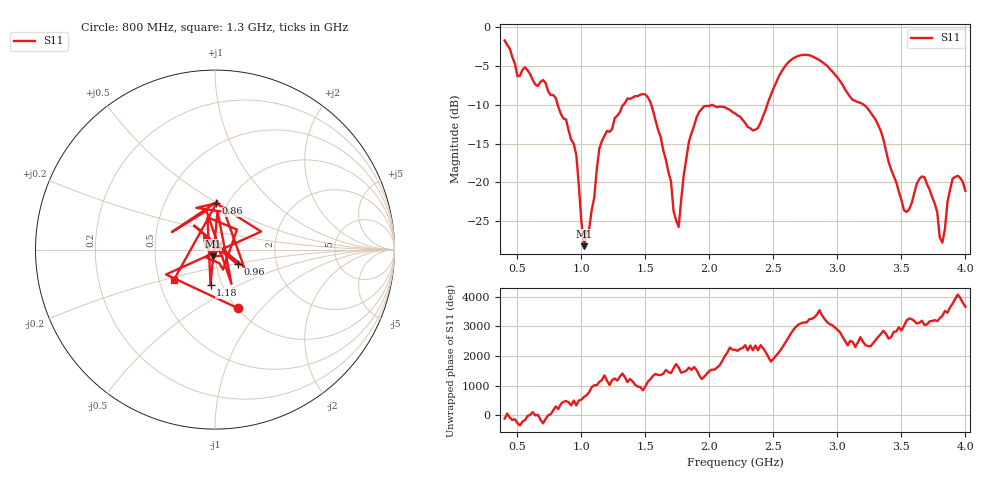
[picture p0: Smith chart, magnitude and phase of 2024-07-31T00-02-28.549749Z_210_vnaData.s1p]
!Created with skrf (http://scikit-rf.org).
# Hz S RI R 50.0
!freq ReS11 ImS11
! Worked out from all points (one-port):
!   181 points, 400 MHz to 4 GHz, reference 50 ohm
!   lowest |S11| = -28.2 dB at 1.02 GHz (marker M1), VSWR 1.08, Z = 48.7 - j3.6 ohm
!   |S11| at or under -10 dB: 815.2 MHz to 1.327 GHz (512.1 MHz wide, 47.8 % of centre); 1.546 GHz to 2.019 GHz (472.7 MHz wide, 26.5 % of centre); 3.207 GHz to end of sweep (the widest 3 of 4)
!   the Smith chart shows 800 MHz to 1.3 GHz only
!   S11 on the Smith chart (normalised r, x): 800 MHz: 1.01, -0.75; 860 MHz: 0.88, +0.49; 960 MHz: 1.27, -0.21; 1.18 GHz: 0.88, -0.36; 1.3 GHz: 0.60, -0.22
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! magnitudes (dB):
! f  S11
! 400 MHz  -1.7
! 500 MHz  -6.3
! 560 MHz  -5.1
! 800 MHz  -9.1
! 860 MHz  -11.8
! 960 MHz  -16.4
! 1.02 GHz  -28.2
! 1.1 GHz  -22.0
! 1.14 GHz  -15.6
! 1.18 GHz  -14.0
! 1.3 GHz  -11.0
! 1.54 GHz  -9.7
! 1.76 GHz  -25.7
! 1.84 GHz  -14.8
! 1.92 GHz  -10.9
! 2.2 GHz  -11.1
! 2.38 GHz  -13.0
! 2.66 GHz  -3.9
! 2.86 GHz  -4.2
! 3.1 GHz  -9.0
! 3.3 GHz  -12.0
! 3.52 GHz  -23.6
! 3.56 GHz  -23.5
! 3.68 GHz  -19.3
! 3.78 GHz  -23.8
! 3.82 GHz  -27.8
! 3.9 GHz  -19.5
! 4 GHz  -21.1
